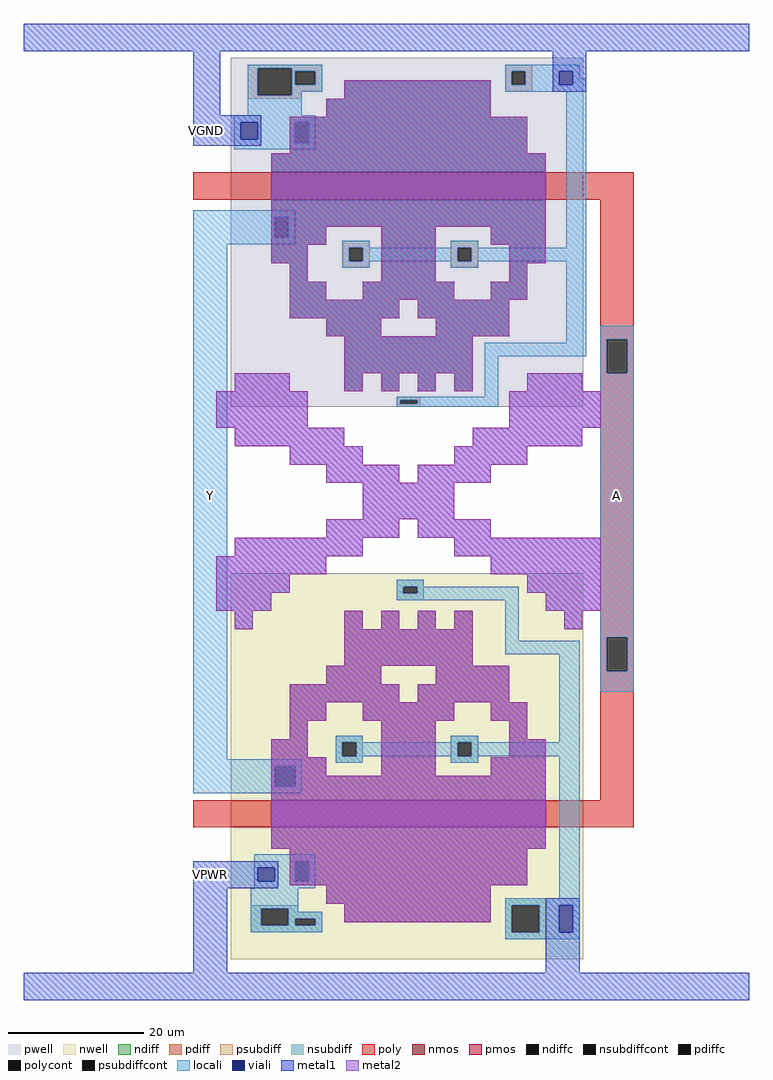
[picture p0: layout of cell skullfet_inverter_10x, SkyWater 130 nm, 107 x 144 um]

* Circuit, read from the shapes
.subckt skullfet_inverter_10x VGND VPWR Y A
XM1 VGND A Y VGND sky130_fd_pr__nfet_01v8 w=40.5 l=4
XM2 Y A VPWR VPWR sky130_fd_pr__pfet_01v8 w=40.5 l=4
.ends

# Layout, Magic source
magic
tech sky130A
<< nwell >>
rect 3050 600 8250 6300
<< pwell >>
rect 3050 8750 8250 13900
<< nmos >>
rect 3650 11810 7700 12210
<< pmos >>
rect 3650 2550 7700 2950
<< ndiff >>
rect 4730 13300 6890 13570
rect 4460 13030 6890 13300
rect 3920 12950 7430 13030
rect 3920 12650 4000 12950
rect 4200 12650 7430 12950
rect 3920 12490 7430 12650
rect 3650 12210 7700 12490
rect 3650 11550 7700 11810
rect 3650 11250 3700 11550
rect 3900 11410 7700 11550
rect 3900 11250 4460 11410
rect 3650 11140 4460 11250
rect 3650 10870 4190 11140
rect 3920 10600 4190 10870
rect 5270 10600 6080 11410
rect 6890 11140 7700 11410
rect 7160 10870 7700 11140
rect 7160 10600 7430 10870
rect 3920 10330 4460 10600
rect 5000 10330 6350 10600
rect 6890 10330 7430 10600
rect 3920 10060 5540 10330
rect 5810 10060 7160 10330
rect 4460 9790 5270 10060
rect 6080 9790 7160 10060
rect 4730 9250 6620 9790
rect 4730 8980 5000 9250
rect 5270 8980 5540 9250
rect 5810 8980 6080 9250
rect 6350 8980 6620 9250
<< pdiff >>
rect 4730 5470 5000 5740
rect 5270 5470 5540 5740
rect 5810 5470 6080 5740
rect 6350 5470 6620 5740
rect 4730 4930 6620 5470
rect 4460 4660 5270 4930
rect 6080 4660 7160 4930
rect 3920 4390 5540 4660
rect 5810 4390 7160 4660
rect 3920 4120 4460 4390
rect 5000 4120 6350 4390
rect 6890 4120 7430 4390
rect 3920 3850 4190 4120
rect 3650 3580 4190 3850
rect 3650 3450 4460 3580
rect 3650 3150 3700 3450
rect 4000 3310 4460 3450
rect 5270 3310 6080 4120
rect 7160 3850 7430 4120
rect 7160 3580 7700 3850
rect 6890 3310 7700 3580
rect 4000 3150 7700 3310
rect 3650 2950 7700 3150
rect 3650 2230 7700 2550
rect 3920 2050 7430 2230
rect 3920 1750 4000 2050
rect 4200 1750 7430 2050
rect 3920 1690 7430 1750
rect 4460 1420 6890 1690
rect 4730 1150 6890 1420
<< ndiffc >>
rect 4000 12650 4200 12950
rect 3700 11250 3900 11550
<< pdiffc >>
rect 3700 3150 4000 3450
rect 4000 1750 4200 2050
<< psubdiff >>
rect 3300 13750 4400 13800
rect 3300 13350 3450 13750
rect 3950 13700 4400 13750
rect 3950 13500 4000 13700
rect 4300 13500 4400 13700
rect 7100 13700 7500 13800
rect 3950 13400 4400 13500
rect 3950 13350 4100 13400
rect 3300 13300 4100 13350
rect 7100 13500 7200 13700
rect 7400 13500 7500 13700
rect 7100 13400 7500 13500
rect 4700 11100 5100 11200
rect 4700 10900 4800 11100
rect 5000 10900 5100 11100
rect 4700 10800 5100 10900
rect 6300 11100 6700 11200
rect 6300 10900 6400 11100
rect 6600 10900 6700 11100
rect 6300 10800 6700 10900
rect 5500 8850 5850 8900
rect 5500 8800 5550 8850
rect 5800 8800 5850 8850
rect 5500 8750 5850 8800
<< nsubdiff >>
rect 5500 6100 5900 6200
rect 5500 6000 5600 6100
rect 5800 6000 5900 6100
rect 5500 5900 5900 6000
rect 4600 3800 5000 3900
rect 4600 3600 4700 3800
rect 4900 3600 5000 3800
rect 4600 3500 5000 3600
rect 6300 3800 6700 3900
rect 6300 3600 6400 3800
rect 6600 3600 6700 3800
rect 6300 3500 6700 3600
rect 3350 1350 4050 1400
rect 3350 1100 3500 1350
rect 3900 1300 4050 1350
rect 3900 1200 4400 1300
rect 3900 1100 4000 1200
rect 4300 1100 4400 1200
rect 7100 1400 7700 1500
rect 3350 1000 4400 1100
rect 7100 1000 7200 1400
rect 7600 1000 7700 1400
rect 7100 900 7700 1000
<< psubdiffcont >>
rect 3450 13350 3950 13750
rect 4000 13500 4300 13700
rect 7200 13500 7400 13700
rect 4800 10900 5000 11100
rect 6400 10900 6600 11100
rect 5550 8800 5800 8850
<< nsubdiffcont >>
rect 5600 6000 5800 6100
rect 4700 3600 4900 3800
rect 6400 3600 6600 3800
rect 3500 1100 3900 1350
rect 4000 1100 4300 1200
rect 7200 1000 7600 1400
<< poly >>
rect 2500 11810 3650 12210
rect 7700 11810 9000 12210
rect 8500 9750 9000 11810
rect 8500 9250 8600 9750
rect 8900 9250 9000 9750
rect 8500 5350 9000 9250
rect 8500 4850 8600 5350
rect 8900 4850 9000 5350
rect 8500 2950 9000 4850
rect 2500 2550 3650 2950
rect 7700 2550 9000 2950
<< polycont >>
rect 8600 9250 8900 9750
rect 8600 4850 8900 5350
<< locali >>
rect 3300 13750 4400 13800
rect 3300 13350 3450 13750
rect 3950 13700 4400 13750
rect 3950 13500 4000 13700
rect 4300 13500 4400 13700
rect 3950 13400 4400 13500
rect 7100 13700 8200 13800
rect 7100 13500 7200 13700
rect 7400 13500 7900 13700
rect 8100 13600 8200 13700
rect 8100 13500 8300 13600
rect 7100 13400 8300 13500
rect 3950 13350 4100 13400
rect 3300 13050 4100 13350
rect 3100 12950 4300 13050
rect 3100 12700 3200 12950
rect 3450 12700 4000 12950
rect 3100 12650 4000 12700
rect 4200 12650 4300 12950
rect 3100 12550 4300 12650
rect 2500 11550 4000 11650
rect 2500 11250 3700 11550
rect 3900 11250 4000 11550
rect 2500 11150 4000 11250
rect 2500 3550 3000 11150
rect 4700 11100 5100 11200
rect 6300 11100 6700 11200
rect 8000 11100 8300 13400
rect 4700 10900 4800 11100
rect 5000 10900 6400 11100
rect 6600 10900 8300 11100
rect 4700 10800 5100 10900
rect 6300 10800 6700 10900
rect 8000 9700 8300 10900
rect 6800 9500 8300 9700
rect 8500 9750 9000 9950
rect 6800 8900 7000 9500
rect 5500 8850 7000 8900
rect 5500 8800 5550 8850
rect 5800 8800 7000 8850
rect 5500 8750 7000 8800
rect 8500 9250 8600 9750
rect 8900 9250 9000 9750
rect 5500 6100 5900 6200
rect 5500 6000 5600 6100
rect 5800 6000 7300 6100
rect 5500 5900 7300 6000
rect 7100 5300 7300 5900
rect 8500 5350 9000 9250
rect 7100 5100 8200 5300
rect 4600 3800 5000 3900
rect 6300 3800 6700 3900
rect 7900 3800 8200 5100
rect 8500 4850 8600 5350
rect 8900 4850 9000 5350
rect 8500 4550 9000 4850
rect 4600 3600 4700 3800
rect 4900 3600 6400 3800
rect 6600 3600 8200 3800
rect 2500 3450 4100 3550
rect 4600 3500 5000 3600
rect 6300 3500 6700 3600
rect 2500 3150 3700 3450
rect 4000 3150 4100 3450
rect 2500 3050 4100 3150
rect 3400 2050 4300 2150
rect 3400 1950 4000 2050
rect 3400 1750 3450 1950
rect 3700 1750 4000 1950
rect 4200 1750 4300 2050
rect 3400 1650 4300 1750
rect 3350 1350 4050 1650
rect 7900 1500 8200 3600
rect 3350 1100 3500 1350
rect 3900 1300 4050 1350
rect 7100 1400 8200 1500
rect 3900 1200 4400 1300
rect 3900 1100 4000 1200
rect 4300 1100 4400 1200
rect 3350 1000 4400 1100
rect 7100 1000 7200 1400
rect 7600 1000 7900 1400
rect 8100 1000 8200 1400
rect 7100 900 8200 1000
<< viali >>
rect 7900 13500 8100 13700
rect 3200 12700 3450 12950
rect 3450 1750 3700 1950
rect 7900 1000 8100 1400
<< metal1 >>
rect 0 14000 10700 14400
rect 2500 13050 2900 14000
rect 7800 13700 8300 14000
rect 4730 13300 6890 13570
rect 7800 13500 7900 13700
rect 8100 13500 8300 13700
rect 7800 13400 8300 13500
rect 2500 12950 3500 13050
rect 4460 13030 6890 13300
rect 2500 12700 3200 12950
rect 3450 12700 3500 12950
rect 2500 12600 3500 12700
rect 3920 12490 7430 13030
rect 3650 11410 7700 12490
rect 3650 11140 4460 11410
rect 3650 10870 4190 11140
rect 3920 10600 4190 10870
rect 5270 10600 6080 11410
rect 6890 11140 7700 11410
rect 7160 10870 7700 11140
rect 7160 10600 7430 10870
rect 3920 10330 4460 10600
rect 5000 10330 6350 10600
rect 6890 10330 7430 10600
rect 3920 10060 5540 10330
rect 5810 10060 7160 10330
rect 4460 9790 5270 10060
rect 6080 9790 7160 10060
rect 4730 9250 6620 9790
rect 3110 8980 3920 9250
rect 4730 8980 5000 9250
rect 5270 8980 5540 9250
rect 5810 8980 6080 9250
rect 6350 8980 6620 9250
rect 7430 8980 8240 9250
rect 2840 8440 4190 8980
rect 7160 8440 8510 8980
rect 3110 8170 4730 8440
rect 6620 8170 8240 8440
rect 3920 7900 5000 8170
rect 6350 7900 7430 8170
rect 4460 7630 5540 7900
rect 5810 7630 6890 7900
rect 5000 7090 6350 7630
rect 4460 6820 5540 7090
rect 5810 6820 6890 7090
rect 3110 6550 5000 6820
rect 6350 6550 8510 6820
rect 2840 6280 4460 6550
rect 6890 6280 8510 6550
rect 2840 6010 3920 6280
rect 7430 6010 8510 6280
rect 2840 5740 3650 6010
rect 7700 5740 8510 6010
rect 3110 5470 3380 5740
rect 4730 5470 5000 5740
rect 5270 5470 5540 5740
rect 5810 5470 6080 5740
rect 6350 5470 6620 5740
rect 7970 5470 8240 5740
rect 4730 4930 6620 5470
rect 4460 4660 5270 4930
rect 6080 4660 7160 4930
rect 3920 4390 5540 4660
rect 5810 4390 7160 4660
rect 3920 4120 4460 4390
rect 5000 4120 6350 4390
rect 6890 4120 7430 4390
rect 3920 3850 4190 4120
rect 3650 3580 4190 3850
rect 3650 3310 4460 3580
rect 5270 3310 6080 4120
rect 7160 3850 7430 4120
rect 7160 3580 7700 3850
rect 6890 3310 7700 3580
rect 3650 2230 7700 3310
rect 2500 1950 3750 2050
rect 2500 1750 3450 1950
rect 3700 1750 3750 1950
rect 2500 1650 3750 1750
rect 3920 1690 7430 2230
rect 2500 400 3000 1650
rect 4460 1420 6890 1690
rect 4730 1150 6890 1420
rect 7700 1400 8200 1500
rect 7700 1000 7900 1400
rect 8100 1000 8200 1400
rect 7700 400 8200 1000
rect 0 0 10700 400
<< metal2 >>
rect 4730 13300 6890 13570
rect 4460 13030 6890 13300
rect 3920 12490 7430 13030
rect 3650 11410 7700 12490
rect 3650 11140 4460 11410
rect 3650 10870 4190 11140
rect 3920 10600 4190 10870
rect 5270 10600 6080 11410
rect 6890 11140 7700 11410
rect 7160 10870 7700 11140
rect 7160 10600 7430 10870
rect 3920 10330 4460 10600
rect 5000 10330 6350 10600
rect 6890 10330 7430 10600
rect 3920 10060 5540 10330
rect 5810 10060 7160 10330
rect 4460 9790 5270 10060
rect 6080 9790 7160 10060
rect 4730 9250 6620 9790
rect 3110 8980 3920 9250
rect 4730 8980 5000 9250
rect 5270 8980 5540 9250
rect 5810 8980 6080 9250
rect 6350 8980 6620 9250
rect 7430 8980 8240 9250
rect 2840 8440 4190 8980
rect 7160 8440 8510 8980
rect 3110 8170 4730 8440
rect 6620 8170 8240 8440
rect 3920 7900 5000 8170
rect 6350 7900 7430 8170
rect 4460 7630 5540 7900
rect 5810 7630 6890 7900
rect 5000 7090 6350 7630
rect 4460 6820 5540 7090
rect 5810 6820 6890 7090
rect 3110 6550 5000 6820
rect 6350 6550 8510 6820
rect 2840 6280 4460 6550
rect 6890 6280 8510 6550
rect 2840 6010 3920 6280
rect 7430 6010 8510 6280
rect 2840 5740 3650 6010
rect 7700 5740 8510 6010
rect 3110 5470 3380 5740
rect 4730 5470 5000 5740
rect 5270 5470 5540 5740
rect 5810 5470 6080 5740
rect 6350 5470 6620 5740
rect 7970 5470 8240 5740
rect 4730 4930 6620 5470
rect 4460 4660 5270 4930
rect 6080 4660 7160 4930
rect 3920 4390 5540 4660
rect 5810 4390 7160 4660
rect 3920 4120 4460 4390
rect 5000 4120 6350 4390
rect 6890 4120 7430 4390
rect 3920 3850 4190 4120
rect 3650 3580 4190 3850
rect 3650 3310 4460 3580
rect 5270 3310 6080 4120
rect 7160 3850 7430 4120
rect 7160 3580 7700 3850
rect 6890 3310 7700 3580
rect 3650 2230 7700 3310
rect 3920 1690 7430 2230
rect 4460 1420 6890 1690
rect 4730 1150 6890 1420
<< labels >>
flabel metal1 s 2500 12600 2900 13050 0 FreeSans 240 90 0 0 VGND
port 1 nsew ground bidirectional abutment
flabel metal1 s 2500 1650 3000 2050 0 FreeSans 240 90 0 0 VPWR
port 2 nsew power bidirectional abutment
flabel locali s 2500 7050 3000 7850 0 FreeSans 340 0 0 0 Y
port 3 s signal output
flabel locali s 8500 7050 9000 7850 0 FreeSans 340 0 0 0 A
port 4 e signal input
<< end >>
